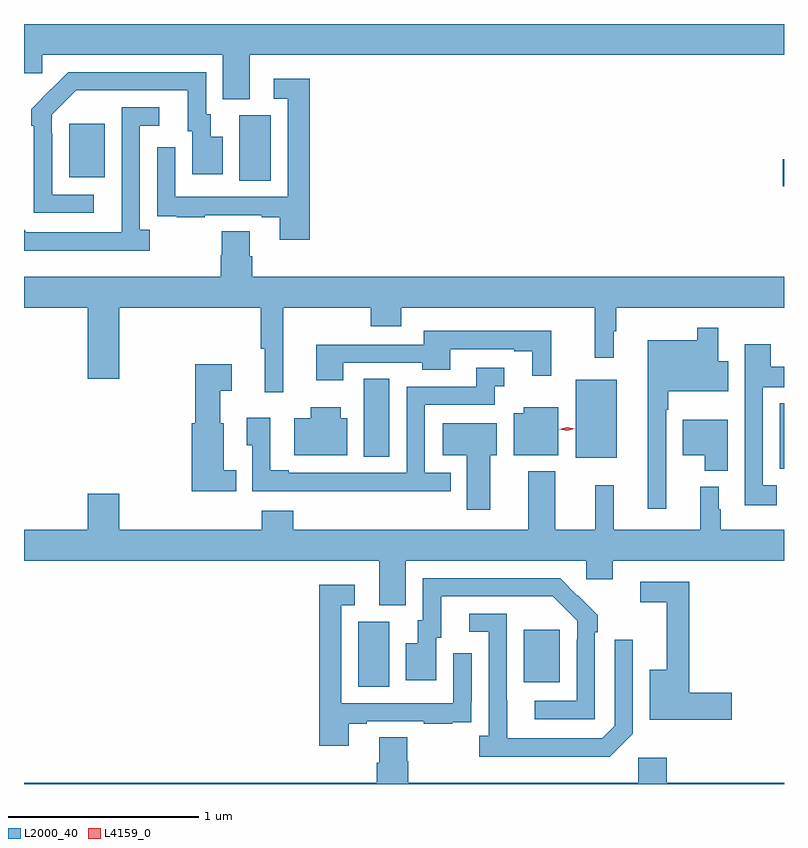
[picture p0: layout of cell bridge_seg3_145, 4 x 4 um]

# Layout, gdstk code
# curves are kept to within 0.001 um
import gdstk
lib = gdstk.Library(unit=1e-6, precision=1e-09)
def R(c, l, rs):  # rectangles x0, y0, x1, y1
    for r in rs: c.add(gdstk.rectangle(r[:2], r[2:], *l))
def P(c, l, *ps):  # polygons
    for p in ps: c.add(gdstk.Polygon(p, *l))
L2000_40 = (2000, 40)
L4159_0 = (4159, 0)

bridge_seg3_145 = lib.new_cell('bridge_seg3_145')
R(bridge_seg3_145, L2000_40, [(346.25,709.576,346.414,709.92), (347.123,709.601,347.311,709.876), (348.47,710.725,348.492,711.068), (347.396,710.783,347.611,711.193), (346.28,710.788,346.414,711.197), (348.486,712.21,348.492,712.352), (345.626,712.24,345.79,712.584), (344.729,712.259,344.917,712.54)])
P(bridge_seg3_145, L2000_40, [(345.679,712.904),(348.492,712.904),(348.492,713.065),(344.492,713.065),(344.492,712.806),(344.589,712.806),(344.589,712.904),(345.539,712.904),(345.539,712.669),(345.679,712.669)],
  [(344.86,712.167),(344.64,712.167),(344.64,712.487),(344.637,712.487),(344.637,712.587),(344.766,712.716),(345.353,712.716),(345.353,712.5),(345.377,712.5),(345.377,712.275),(345.538,712.275),(345.538,712.471),(345.475,712.471),(345.475,712.59),(345.45,712.59),(345.45,712.812),(344.726,712.812),(344.529,712.617),(344.529,712.529),(344.544,712.529),(344.544,712.071),(344.86,712.071)],
  [(345.995,712.777),(345.807,712.777),(345.807,712.671),(345.879,712.671),(345.879,712.155),(345.288,712.155),(345.288,712.417),(345.192,712.417),(345.192,712.162),(345.193,712.162),(345.193,712.053),(345.295,712.053),(345.295,712.047),(345.443,712.047),(345.443,712.059),(345.743,712.059),(345.743,712.047),(345.839,712.047),(345.839,711.93),(345.995,711.93)],
  [(345.154,711.982),(345.102,711.982),(345.102,712.53),(345.205,712.53),(345.205,712.626),(345.006,712.626),(345.006,711.969),(344.505,711.969),(344.492,711.982),(344.492,711.872),(345.154,711.872)],
  [(345.856,711.572),(346.318,711.572),(346.318,711.473),(346.478,711.473),(346.478,711.572),(347.497,711.572),(347.497,711.309),(347.596,711.309),(347.596,711.449),(347.608,711.449),(347.608,711.572),(348.492,711.572),(348.492,711.736),(345.692,711.736),(345.692,711.842),(345.679,711.842),(345.679,711.974),(345.532,711.974),(345.532,711.849),(345.527,711.849),(345.527,711.736),(344.492,711.736),(344.492,711.572),(344.828,711.572),(344.828,711.198),(344.992,711.198),(344.992,711.572),(345.739,711.572),(345.739,711.357),(345.758,711.357),(345.758,711.126),(345.856,711.126)],
  [(347.871,711.035),(347.884,711.035),(347.884,711.131),(348.199,711.131),(348.199,711.289),(348.145,711.289),(348.145,711.466),(348.036,711.466),(348.036,711.4),(347.774,711.4),(347.774,710.514),(347.871,710.514)],
  [(346.171,711.282),(346.588,711.282),(346.588,711.245),(346.735,711.245),(346.735,711.354),(347.072,711.354),(347.072,711.342),(347.168,711.342),(347.168,711.213),(347.266,711.213),(347.266,711.45),(346.595,711.45),(346.595,711.378),(346.031,711.378),(346.031,711.189),(346.171,711.189)],
  [(348.454,710.637),(348.381,710.637),(348.381,711.153),(348.492,711.153),(348.492,711.262),(348.421,711.262),(348.421,711.379),(348.285,711.379),(348.285,710.532),(348.454,710.532)],
  [(345.608,710.716),(345.544,710.716),(345.544,710.964),(345.526,710.964),(345.526,711.134),(345.586,711.134),(345.586,711.274),(345.392,711.274),(345.392,710.964),(345.374,710.964),(345.374,710.606),(345.608,710.606)],
  [(346.738,710.703),(346.602,710.703),(346.602,711.06),(346.969,711.06),(346.969,711.158),(347.02,711.158),(347.02,711.255),(346.871,711.255),(346.871,711.156),(346.506,711.156),(346.506,710.703),(345.886,710.703),(345.886,710.716),(345.789,710.716),(345.789,710.992),(345.665,710.992),(345.665,710.847),(345.693,710.847),(345.693,710.607),(345.991,710.607),(345.991,710.606),(346.738,710.606)],
  [(346.192,710.989),(346.159,710.989),(346.159,711.049),(346.001,711.049),(346.001,710.989),(345.914,710.989),(345.914,710.795),(346.192,710.795)],
  [(347.305,711.049),(347.123,711.049),(347.123,711.016),(347.069,711.016),(347.069,710.795),(347.305,710.795)],
  [(348.196,710.983),(347.96,710.983),(347.96,710.795),(348.074,710.795),(348.074,710.714),(348.196,710.714)],
  [(346.945,710.795),(346.981,710.795),(346.981,710.965),(346.697,710.965),(346.697,710.795),(346.823,710.795),(346.823,710.508),(346.945,710.508)],
  [(346.501,710.24),(347.451,710.24),(347.451,710.142),(347.59,710.142),(347.59,710.24),(348.492,710.24),(348.492,710.404),(348.16,710.404),(348.16,710.511),(348.148,710.511),(348.148,710.629),(348.05,710.629),(348.05,710.404),(347.597,710.404),(347.597,710.638),(347.498,710.638),(347.498,710.404),(347.287,710.404),(347.287,710.71),(347.147,710.71),(347.147,710.404),(345.908,710.404),(345.908,710.503),(345.743,710.503),(345.743,710.404),(344.992,710.404),(344.992,710.593),(344.828,710.593),(344.828,710.404),(344.492,710.404),(344.492,710.24),(346.361,710.24),(346.361,710.005),(346.501,710.005)],
  [(347.496,709.865),(347.511,709.865),(347.511,709.953),(347.314,710.148),(346.59,710.148),(346.59,709.926),(346.565,709.926),(346.565,709.807),(346.502,709.807),(346.502,709.611),(346.663,709.611),(346.663,709.836),(346.687,709.836),(346.687,710.052),(347.275,710.052),(347.403,709.923),(347.403,709.823),(347.4,709.823),(347.4,709.503),(347.181,709.503),(347.181,709.407),(347.496,709.407)],
  [(348.217,709.544),(347.993,709.544),(347.993,710.13),(347.736,710.13),(347.736,710.022),(347.876,710.022),(347.876,709.666),(347.786,709.666),(347.786,709.402),(348.217,709.402)],
  [(346.201,709.383),(346.297,709.383),(346.297,709.395),(346.597,709.395),(346.597,709.383),(346.745,709.383),(346.745,709.389),(346.847,709.389),(346.847,709.498),(346.848,709.498),(346.848,709.753),(346.752,709.753),(346.752,709.491),(346.161,709.491),(346.161,710.007),(346.234,710.007),(346.234,710.113),(346.045,710.113),(346.045,709.266),(346.201,709.266)],
  [(347.697,709.329),(347.697,709.825),(347.601,709.825),(347.601,709.371),(347.535,709.305),(347.035,709.305),(347.034,709.962),(346.836,709.962),(346.836,709.866),(346.938,709.866),(346.938,709.318),(346.887,709.318),(346.887,709.208),(347.576,709.208)],
  [(348.492,709.072),(347.876,709.072),(347.876,709.204),(347.724,709.204),(347.724,709.072),(346.514,709.072),(346.514,709.185),(346.509,709.185),(346.509,709.31),(346.361,709.31),(346.361,709.178),(346.349,709.178),(346.349,709.072),(344.492,709.072),(344.492,709.065),(348.492,709.065)])
P(bridge_seg3_145, L4159_0, [(347.35,710.923),(347.31,710.933),(347.31,710.933),(347.31,710.933),(347.35,710.943),(347.39,710.934),(347.391,710.934),(347.39,710.934)])

lib.write_gds('bridge_seg3_145.gds')
